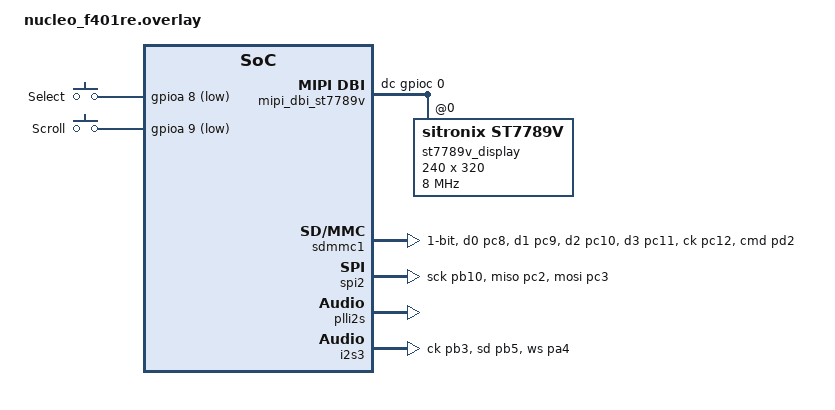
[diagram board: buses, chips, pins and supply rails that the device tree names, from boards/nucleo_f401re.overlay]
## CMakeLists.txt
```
cmake_minimum_required(VERSION 3.20.0)

find_package(Zephyr REQUIRED HINTS $ENV{ZEPHYR_BASE})
set(CMAKE_EXPORT_COMPILE_COMMANDS ON)
project(music_player)
include(${ZEPHYR_BASE}/cmake/cfb.cmake NO_POLICY_SCOPE)
target_include_directories(app PRIVATE ${CMAKE_BINARY_DIR}/include)

target_sources(app PRIVATE src/main.cpp src/sd_card.cpp src/gpio.cpp src/mp_lvgl.cpp)
```

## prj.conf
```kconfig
CONFIG_CPP=y
CONFIG_STD_CPP17=y        # or CPP14, CPP11
CONFIG_SPI=y
CONFIG_DISK_ACCESS=y
CONFIG_FILE_SYSTEM=y
CONFIG_FAT_FILESYSTEM_ELM=y
CONFIG_LOG=y
CONFIG_GPIO=y
CONFIG_MAIN_STACK_SIZE=8192
CONFIG_I2C=y
CONFIG_DISPLAY=y
CONFIG_HEAP_MEM_POOL_SIZE=8192
CONFIG_TEST_RANDOM_GENERATOR=y
CONFIG_FS_FATFS_LFN=y
CONFIG_FS_FATFS_MAX_LFN=64
CONFIG_I2S=y
CONFIG_DMA=y
CONFIG_FPU=y
CONFIG_I2S_STM32_TX_BLOCK_COUNT=4
CONFIG_SPI_STM32_DMA=y 
CONFIG_INPUT=y
CONFIG_ST7789V=y 

CONFIG_LVGL=y
CONFIG_LV_FONT_MONTSERRAT_16=y
CONFIG_LV_Z_MEM_POOL_SIZE=16384
CONFIG_LV_Z_SHELL=n

# CONFIG_GLIBCXX_LIBCPP=y   # links libstdc++
```

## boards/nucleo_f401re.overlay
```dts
#include <zephyr/dt-bindings/gpio/st-morpho-header.h>
#include <zephyr/dt-bindings/input/input-event-codes.h>
#include <zephyr/dt-bindings/mipi_dbi/mipi_dbi.h>
#include <zephyr/dt-bindings/display/panel.h>

&dma1 {
    status = "okay";
};

&dma2 {
    status = "okay";
};

&sdmmc1 {
    status = "okay";
    pinctrl-0 = <&sdio_d0_pc8
                 &sdio_d1_pc9
                 &sdio_d2_pc10
                 &sdio_d3_pc11
                 &sdio_ck_pc12
                 &sdio_cmd_pd2>;
    pinctrl-names = "default";
    /* cd-gpios = <&gpiob 14 GPIO_ACTIVE_LOW>; */
    // Change later when on pcb
    bus-width = <1>;
    disk-name = "SD";
    clk-div = <1>;
};
/* &spi1 { */
/*     dmas = <&dma2 0 3 (STM32_DMA_PERIPH_RX | STM32_DMA_PRIORITY_HIGH) STM32_DMA_FIFO_1_4>, */
/*            <&dma2 3 3 (STM32_DMA_PERIPH_TX | STM32_DMA_PRIORITY_HIGH) STM32_DMA_FIFO_1_4>; */
/*     dma-names = "rx", "tx"; */
/**/
/*     sdhc0: sdhc@0 { */
/*         compatible = "zephyr,sdhc-spi-slot"; */
/*         reg = <0>; */
/*         status = "okay"; */
/*         spi-max-frequency = <25000000>; */
/**/
/*         /* 3 (0/2) RX 3 (3/5) TX */
/*         mmc { */
/*             compatible = "zephyr,sdmmc-disk"; */
/*             disk-name = "SD"; */
/*             status = "okay"; */
/*         }; */
/*     }; */
/* }; */

&spi2 {
    pinctrl-0 = <&spi2_sck_pb10 &spi2_miso_pc2 &spi2_mosi_pc3>;
    pinctrl-names = "default";
    status = "okay";
    cs-gpios = <&gpiob 9 GPIO_ACTIVE_LOW>; 
    dmas = <&dma1 4 0 (STM32_DMA_PERIPH_TX | STM32_DMA_PRIORITY_HIGH) STM32_DMA_FIFO_FULL>,
           <&dma1 3 0 (STM32_DMA_PERIPH_RX | STM32_DMA_PRIORITY_HIGH) STM32_DMA_FIFO_FULL>;
    dma-names = "tx", "rx";
};

/ {
    mipi_dbi_st7789v {
        compatible = "zephyr,mipi-dbi-spi";
        spi-dev = <&spi2>;
        dc-gpios = <&gpioc 0 GPIO_ACTIVE_HIGH>;    
        /* reset-gpios = <&gpioX Y GPIO_ACTIVE_LOW>;   */
        write-only;
        #address-cells = <1>;
        #size-cells = <0>;

        st7789v_display: st7789v@0 {
            compatible = "sitronix,st7789v";
            mipi-max-frequency = <8000000>;
            reg = <0>;
            width = <240>;
            height = <320>;
            x-offset = <0>;
            y-offset = <0>;
            vcom = <0x19>;
            gctrl = <0x35>;
            vrhs = <0x12>;
            vdvs = <0x20>;
            mdac = <0x08>;
            gamma = <0x01>;
            pixel-format = <PANEL_PIXEL_FORMAT_RGB_565>;
            lcm = <0x2c>;
            porch-param = [0c 0c 00 33 33];
            cmd2en-param = [5a 69 02 01];
            pwctrl1-param = [a4 a1];
            pvgam-param = [d0 04 0d 11 13 2b 3f 54 4c 18 0d 0b 1f 23];
            nvgam-param = [d0 04 0c 11 13 2c 3f 44 51 2f 1f 1f 20 23];
            ram-param = [00 f0];
            rgb-param = [cd 08 14];
            mipi-mode = "MIPI_DBI_MODE_SPI_4WIRE";
        };
    };

    chosen {
        zephyr,display = &st7789v_display;
    };
};

&i2c3 {
    status = "disabled";
};

&plli2s {
    div-m = <8>;
    mul-n = <271>;
    div-r = <2>;
    clocks = <&clk_hse>;
    status = "okay";
};

&i2s3 { 
    pinctrl-0 = <&i2s3_ck_pb3 &i2s3_sd_pb5 &i2s3_ws_pa4>;
    clocks = <&rcc STM32_CLOCK(APB1, 15)>,
             <&rcc STM32_SRC_PLLI2S_R I2S_SEL(0)>;
    pinctrl-names = "default";
    status = "okay"; 
};

/ {
    buttons {
        compatible = "gpio-keys";

        select_pin: select_pin {
            gpios = <&gpioa 8 (GPIO_ACTIVE_LOW | GPIO_PULL_UP)>;
            label = "Select";
            zephyr,code = <INPUT_KEY_0>;
        };

        scroll_pin: scroll_pin {
            gpios = <&gpioa 9 (GPIO_ACTIVE_LOW | GPIO_PULL_UP)>;
            label = "Scroll";
            zephyr,code = <INPUT_KEY_1>;
        };
    };

    longpress {
        compatible = "zephyr,input-longpress";
        input-codes = <INPUT_KEY_0>, <INPUT_KEY_1>;
        short-codes = <INPUT_KEY_A>, <INPUT_KEY_B>;
        long-codes = <INPUT_KEY_X>, <INPUT_KEY_Y>;
        long-delay-ms = <3000>;
    };
};
```

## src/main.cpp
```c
#include "gpio.hpp"
#include "mp_lvgl.hpp"
#include "sd_card.hpp"
#include "types.hpp"
#include "zephyr/kernel.h"
#include "zephyr/sys/printk.h"
#include <lvgl.h>
#include <lvgl_zephyr.h>
#include <zephyr/drivers/display.h>
#include <zephyr/input/input.h>
#include <zephyr/logging/log.h>

LOG_MODULE_REGISTER(main);
#define SELECT_NODE DT_NODELABEL(select_pin)
#define SCROLL_NODE DT_NODELABEL(scroll_pin)
#define WORKQ_STACK_SIZE 4096
K_THREAD_STACK_DEFINE(workq_stack, WORKQ_STACK_SIZE);
#define MUSIC_WORKQ_STACK_SIZE 8192
K_THREAD_STACK_DEFINE(music_workq_stack, MUSIC_WORKQ_STACK_SIZE);
#define MAX_DISPLAY_LINES 8

// Directory File
// +4 len of disk mount pt +1 for / + 1 for null
static char selected_dir[MAX_FILE_NAME + 4 + 1];

void select_cb(bool long_press, void *ctx) {
  printk("select\n");
  int64_t press_start = k_uptime_get();
  static int64_t last_press = 0;
  auto gpio_ctx = static_cast<gpio_ctx_t *>(ctx);
  auto diff = (last_press - press_start);
  printk("%lldd\n", diff);
  switch (gpio_ctx->state) {
  case STATE_DIR:
    gpio_ctx->file_cursor = 0;
    gpio_ctx->window_start = 0;
    gpio_ctx->state = STATE_DIR_READ;
    break;
  case STATE_FILE:
    gpio_ctx->state = STATE_TO_PLAY;
    break;
  case STATE_TO_PLAY:
    break;
  default:
    break;
  }
  last_press = press_start;
}
void scroll_cb(bool long_press, void *ctx) {
  printk("scroll\n");
  auto gpio_ctx = static_cast<gpio_ctx_t *>(ctx);
  switch (gpio_ctx->state) {
  case STATE_DIR: {
    gpio_ctx->dir_cursor += 1;
    auto dir_count = *gpio_ctx->dir_count;
    auto dist = (int)(gpio_ctx->dir_cursor - gpio_ctx->window_start);
    gpio_ctx->dir_cursor %= dir_count;
    if (dist >= MAX_DISPLAY_LINES) {
      gpio_ctx->window_start += gpio_ctx->dir_cursor - (MAX_DISPLAY_LINES - 1);
    }
    if (dist < 0) {
      gpio_ctx->window_start = 0;
    }
    break;
  }
  case STATE_FILE: {
    gpio_ctx->file_cursor += 1;
    auto file_count = *gpio_ctx->file_count;
    auto dist = (int)(gpio_ctx->file_cursor - gpio_ctx->window_start);
    gpio_ctx->file_cursor %= file_count;
    if (dist >= MAX_DISPLAY_LINES) {
      gpio_ctx->window_start += gpio_ctx->file_cursor - (MAX_DISPLAY_LINES - 1);
    }
    if (dist < 0) {
      gpio_ctx->window_start = 0;
    }
    break;
  }
  case STATE_TO_PLAY:
    break;
  default:
    break;
  }
}
static const struct device *const longpress_dev =
    DEVICE_DT_GET(DT_PATH(longpress));
static void longpress_cb(struct input_event *evt, void *user_data) {
  if (evt->sync == 0) {
    return;
  }
  bool long_press = false;
  if (0 != evt->value) {
    switch (evt->code) {
    case INPUT_KEY_A:
    case INPUT_KEY_B:
      long_press = false;
      break;
    case INPUT_KEY_X:
    case INPUT_KEY_Y:
      long_press = true;
      break;
    default:
      return;
    }
    switch (evt->code) {
    case INPUT_KEY_A:
    case INPUT_KEY_X:
      select_cb(long_press, user_data);
      break;
    case INPUT_KEY_B:
    case INPUT_KEY_Y:
      scroll_cb(long_press, user_data);
      break;
    default:
      return;
    }
  }
}
int main(void) {
  struct k_work_q workq;
  k_work_queue_init(&workq);
  k_work_queue_start(&workq, workq_stack, K_THREAD_STACK_SIZEOF(workq_stack),
                     K_PRIO_PREEMPT(10),
                     NULL); // priority 10, lower than main
  struct k_work_q music_workq;
  k_work_queue_init(&music_workq);
  k_work_queue_start(&music_workq, music_workq_stack,
                     K_THREAD_STACK_SIZEOF(music_workq_stack),
                     K_PRIO_PREEMPT(7), // high priority, cooperative
                     NULL);
  const struct device *display = DEVICE_DT_GET(DT_CHOSEN(zephyr_display));
  printk("init\n");
  SDCard sd{&workq, &music_workq};
  static struct gpio_ctx_t ctx{};
  INPUT_CALLBACK_DEFINE(longpress_dev, longpress_cb, &ctx);
  ctx = {0, 0, 0, &sd.dir_count, &sd.file_count, STATE_DIR, &sd};
  if (!device_is_ready(display)) {
    printk("Display not ready\n");
    return 0;
  }
  display_blanking_off(display);

  // --- LVGL UI setup ---
  static lv_obj_t *list_labels[MAX_DISPLAY_LINES];
  static lv_obj_t *now_playing_label;
  static lv_obj_t *total_duration_label;
  static char duration_str[9];
  static lv_obj_t *total_elapsed_label;
  static char elapsed_str[9];
  static lv_obj_t *progress_container;
  static lv_obj_t *progress_bar;
  static lv_style_t style_normal;
  static lv_style_t style_highlight;

  {
    lv_lock_guard guard;

    // Styles
    lv_style_init(&style_normal);
    lv_style_set_text_color(&style_normal, lv_color_white());
    lv_style_set_bg_opa(&style_normal, LV_OPA_TRANSP);
    lv_style_set_pad_ver(&style_normal, 4);
    lv_style_set_pad_hor(&style_normal, 4);

    lv_style_init(&style_highlight);
    lv_style_set_text_color(&style_highlight, lv_color_black());
    lv_style_set_bg_color(&style_highlight, lv_color_white());
    lv_style_set_bg_opa(&style_highlight, LV_OPA_COVER);
    lv_style_set_pad_ver(&style_highlight, 4);
    lv_style_set_pad_hor(&style_highlight, 4);

    // Black background
    lv_obj_set_style_bg_color(lv_screen_active(), lv_color_black(), 0);
    lv_obj_set_style_bg_opa(lv_screen_active(), LV_OPA_COVER, 0);

    // Create n list labels
    for (int i = 0; i < MAX_DISPLAY_LINES; i++) {
      list_labels[i] = lv_label_create(lv_screen_active());
      lv_label_set_text(list_labels[i], "");
      lv_obj_set_width(list_labels[i], 240);
      lv_obj_set_pos(list_labels[i], 0, i * 40);
      lv_obj_add_style(list_labels[i], &style_normal, 0);
      lv_label_set_long_mode(list_labels[i], LV_LABEL_LONG_CLIP);
    }

    // Now playing label (hidden initially)
    now_playing_label = lv_label_create(lv_screen_active());
    lv_label_set_text(now_playing_label, "Now Playing");
    lv_obj_align(now_playing_label, LV_ALIGN_TOP_MID, 0, 4);
    lv_obj_add_style(now_playing_label, &style_normal, 0);
    lv_obj_add_flag(now_playing_label, LV_OBJ_FLAG_HIDDEN);

    // Progress container: elapsed | bar | total, aligned to bottom
    progress_container = lv_obj_create(lv_screen_active());
    lv_obj_set_size(progress_container, LV_PCT(100), LV_SIZE_CONTENT);
    lv_obj_align(progress_container, LV_ALIGN_BOTTOM_MID, 0, 0);
    lv_obj_set_flex_flow(progress_container, LV_FLEX_FLOW_ROW);
    lv_obj_set_flex_align(progress_container, LV_FLEX_ALIGN_SPACE_BETWEEN,
                          LV_FLEX_ALIGN_CENTER, LV_FLEX_ALIGN_CENTER);
    lv_obj_set_style_bg_opa(progress_container, LV_OPA_TRANSP, 0);
    lv_obj_set_style_border_width(progress_container, 0, 0);
    lv_obj_set_style_pad_all(progress_container, 2, 0);
    lv_obj_add_flag(progress_container, LV_OBJ_FLAG_HIDDEN);

    // Measure max time label width dynamically from font metrics
    lv_point_t time_size;
    lv_text_get_size(&time_size, "00:00:00", lv_font_get_default(), 0, 0,
                     LV_COORD_MAX, LV_TEXT_FLAG_NONE);
    int32_t time_label_width = time_size.x + 8; // +8 for pad_hor (4px each side)

    // Elapsed time label (inside container)
    total_elapsed_label = lv_label_create(progress_container);
    lv_label_set_text_static(total_elapsed_label, elapsed_str);
    lv_obj_add_style(total_elapsed_label, &style_normal, 0);
    lv_obj_set_width(total_elapsed_label, time_label_width);

    // Progress bar (inside container, fills remaining space)
    progress_bar = lv_bar_create(progress_container);
    lv_obj_set_flex_grow(progress_bar, 1);
    lv_obj_set_height(progress_bar, 8);
    lv_bar_set_range(progress_bar, 0, 100);
    lv_bar_set_value(progress_bar, 0, LV_ANIM_OFF);
    lv_obj_set_style_bg_color(progress_bar, lv_color_make(40, 40, 40), 0);
    lv_obj_set_style_bg_color(progress_bar, lv_color_white(),
                              LV_PART_INDICATOR);

    // Total duration label (inside container)
    total_duration_label = lv_label_create(progress_container);
    lv_label_set_text_static(total_duration_label, duration_str);
    lv_obj_add_style(total_duration_label, &style_normal, 0);
    lv_obj_set_width(total_duration_label, time_label_width);

    lv_timer_handler();
  }

  // --- Main loop ---
  DISPLAY_STATE last_state = STATE_DIR;
  uint8_t last_dir_cursor = 0xFF;
  uint8_t last_file_cursor = 0xFF;
  uint8_t last_window_start = 0xFF;

  while (1) {
    {
      lv_lock_guard guard;

      switch (ctx.state) {
      case STATE_DIR:
        if (ctx.state != last_state || ctx.dir_cursor != last_dir_cursor ||
            ctx.window_start != last_window_start) {
          // Show list labels, hide now playing
          for (int i = 0; i < MAX_DISPLAY_LINES; i++) {
            lv_obj_clear_flag(list_labels[i], LV_OBJ_FLAG_HIDDEN);
          }
          lv_obj_add_flag(now_playing_label, LV_OBJ_FLAG_HIDDEN);
          lv_obj_add_flag(progress_container, LV_OBJ_FLAG_HIDDEN);

          for (int z = 0; z < MAX_DISPLAY_LINES; z++) {
            if (z < sd.dir_count) {
              auto index = (ctx.window_start + z) % sd.dir_count;
              lv_label_set_text(list_labels[z], sd.dir_list[index].name);
              if (index == ctx.dir_cursor) {
                lv_obj_remove_style(list_labels[z], &style_normal, 0);
                lv_obj_add_style(list_labels[z], &style_highlight, 0);
              } else {
                lv_obj_remove_style(list_labels[z], &style_highlight, 0);
                lv_obj_add_style(list_labels[z], &style_normal, 0);
              }
            } else {
              lv_label_set_text(list_labels[z], "");
              lv_obj_remove_style(list_labels[z], &style_highlight, 0);
              lv_obj_add_style(list_labels[z], &style_normal, 0);
            }
          }
          last_dir_cursor = ctx.dir_cursor;
          last_window_start = ctx.window_start;
        }
        break;

      case STATE_DIR_READ:
        sd.lsdir(ctx.dir_cursor);
        ctx.state = STATE_FILE;
        last_file_cursor = 0xFF; // force redraw
        break;

      case STATE_FILE:
        if (ctx.state != last_state || ctx.file_cursor != last_file_cursor ||
            ctx.window_start != last_window_start) {
          for (int i = 0; i < MAX_DISPLAY_LINES; i++) {
            lv_obj_clear_flag(list_labels[i], LV_OBJ_FLAG_HIDDEN);
          }
          lv_obj_add_flag(now_playing_label, LV_OBJ_FLAG_HIDDEN);
          lv_obj_add_flag(progress_container, LV_OBJ_FLAG_HIDDEN);

          for (int z = 0; z < MAX_DISPLAY_LINES; z++) {
            if (z < sd.file_count) {
              auto index = (ctx.window_start + z) % sd.file_count;
              lv_label_set_text(list_labels[z], sd.file_list[index].name);
              if (index == ctx.file_cursor) {
                lv_obj_remove_style(list_labels[z], &style_normal, 0);
                lv_obj_add_style(list_labels[z], &style_highlight, 0);
              } else {
                lv_obj_remove_style(list_labels[z], &style_highlight, 0);
                lv_obj_add_style(list_labels[z], &style_normal, 0);
              }
            } else {
              lv_label_set_text(list_labels[z], "");
              lv_obj_remove_style(list_labels[z], &style_highlight, 0);
              lv_obj_add_style(list_labels[z], &style_normal, 0);
            }
          }
          last_file_cursor = ctx.file_cursor;
          last_window_start = ctx.window_start;
        }
        break;

      case STATE_TO_PLAY:
        sd.read_file(ctx.dir_cursor, ctx.file_cursor);
        ctx.state = STATE_PLAYING;
      case STATE_PLAYING:
        if (ctx.state != last_state) {
          // Hide list, show now playing
          for (int i = 0; i < MAX_DISPLAY_LINES; i++) {
            lv_obj_add_flag(list_labels[i], LV_OBJ_FLAG_HIDDEN);
          }
          k_sem_take(&sd.header_ready, K_FOREVER);
          sd.time_str(duration_str, atomic_get(&sd.total_time));
          lv_label_set_text_static(total_duration_label, duration_str);
          lv_obj_clear_flag(now_playing_label, LV_OBJ_FLAG_HIDDEN);
          lv_obj_clear_flag(progress_container, LV_OBJ_FLAG_HIDDEN);
          lv_label_set_text(now_playing_label,
                            sd.file_list[ctx.file_cursor].name);
        }
        {
          uint32_t elapsed = atomic_get(&sd.elapsed_time);
          uint32_t total = atomic_get(&sd.total_time);
          sd.time_str(elapsed_str, elapsed);
          lv_label_set_text_static(total_elapsed_label, elapsed_str);
          if (total > 0) {
            int pct = (int)((elapsed * 100) / total);
            if (pct > 100)
              pct = 100;
            lv_bar_set_value(progress_bar, pct, LV_ANIM_OFF);
          }
        }
        break;
      }

      last_state = ctx.state;
      lv_timer_handler();
    }
    k_msleep(100);
  }
  return 0;
}
```

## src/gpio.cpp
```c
#include "gpio.hpp"
#include "zephyr/drivers/gpio.h"
#include "zephyr/kernel.h"
#include "zephyr/logging/log.h"
#include "zephyr/sys/clock.h"
LOG_MODULE_REGISTER(gpio);
void GPIO::callback(k_work *work) {
  struct k_work_delayable *dwork = k_work_delayable_from_work(work);
  GPIO *io = CONTAINER_OF(dwork, GPIO, work);
  auto active = gpio_pin_get_dt(&io->gpio);
  if (active < 0) {
    LOG_ERR("ERR GPIO\n");
    return;
  }
  io->active = active;
  if (io->cb) {
    io->cb(io->ctx, io->active);
  }
}
void GPIO::isr(const struct device *dev, struct gpio_callback *cb,
               uint32_t pins) {
  GPIO *io = CONTAINER_OF(cb, GPIO, cb_data);
  if (io->work_q) {
    k_work_reschedule_for_queue(io->work_q, &io->work, io->timeout);
  } else {
    k_work_reschedule(&io->work, io->timeout);
  }
}
GPIO::GPIO(const struct gpio_dt_spec &gpio, k_work_q *work_q,
           k_timeout_t timeout, gpio_event_cb_t cb, void *ctx)
    : gpio(gpio), work_q(work_q), timeout(timeout), cb(cb), ctx(ctx) {
   gpio_pin_configure_dt(&gpio, GPIO_INPUT);
  gpio_pin_interrupt_configure_dt(&gpio, (GPIO_INT_EDGE_BOTH));
  gpio_init_callback(&cb_data, &GPIO::isr, BIT(gpio.pin));
  gpio_add_callback(gpio.port, &cb_data);
  k_work_init_delayable(&this->work, &GPIO::callback);
}
```

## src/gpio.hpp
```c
#pragma once
#include "zephyr/drivers/gpio.h"
#include "zephyr/kernel.h"
#include "zephyr/sys/clock.h"
using gpio_event_cb_t = void (*)(void *context, bool active);
class GPIO {
private:
  struct gpio_callback cb_data;
  const struct gpio_dt_spec &gpio;
  struct k_work_q *work_q = nullptr;
  k_timeout_t timeout = K_MSEC(25);
  bool active = false;
  static void callback(k_work *work);
  static void isr(const struct device *dev, struct gpio_callback *cb,
                  uint32_t pins);
  gpio_event_cb_t cb = nullptr;
  void *ctx = nullptr;

public:
  struct k_work_delayable work;
  GPIO(const struct gpio_dt_spec &gpio, k_work_q *work_q, k_timeout_t timeout,
       gpio_event_cb_t cb, void *ctx);
};
```

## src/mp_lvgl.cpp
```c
#include "mp_lvgl.hpp"
#include "lvgl_zephyr.h"

lv_lock_guard::lv_lock_guard() {
  lvgl_lock();
}
lv_lock_guard::~lv_lock_guard() {
  lvgl_unlock();
}
```

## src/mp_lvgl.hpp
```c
#pragma once
class lv_lock_guard {
public:
  lv_lock_guard();
  ~lv_lock_guard();
};
```

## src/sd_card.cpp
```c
#include "sd_card.hpp"
#include "zephyr/drivers/i2s.h"
#include "zephyr/dt-bindings/gpio/gpio.h"
#include "zephyr/dt-bindings/gpio/st-morpho-header.h"
#include "zephyr/fs/fs.h"
#include "zephyr/kernel.h"
#include "zephyr/sys/atomic.h"
#include "zephyr/sys/printk.h"
#include "zephyr/sys/util.h"
#define BLOCK_SIZE 4096
#define NUM_BLOCKS 4
// #define CD_NODE DT_NODELABEL(cd_pin)
// constexpr static const struct gpio_dt_spec cd_gpio =
//     GPIO_DT_SPEC_GET(CD_NODE, gpios);
constexpr static const struct gpio_dt_spec cd_gpio = {
    .port = DEVICE_DT_GET(DT_NODELABEL(gpiob)),
    .pin = 14,
    .dt_flags = GPIO_ACTIVE_HIGH};
K_MEM_SLAB_DEFINE(tx_0_mem_slab, WB_UP(BLOCK_SIZE), NUM_BLOCKS, WB_UP(32));
LOG_MODULE_REGISTER(sd_card);
// Called when card inserted/removed
void SDCard::card_detect_cb(void *ctx, bool active) {
  static int last_state = -1;
  SDCard *self = static_cast<SDCard *>(ctx);
  if (active == last_state)
    return;
  last_state = active;
  if (active) {
    self->mount();
  } else {
    self->unmount();
  }
}
void SDCard::music_cb(struct k_work *work) {
  printk("MUSIC_CB\n");

  // Uncomment the next line to play a test tone instead of WAV file.
  // This tests the I2S hardware path without involving the SD card.
  // play_test_tone(); return;

  auto self = CONTAINER_OF(work, SDCard, music_work);
  atomic_set(&total_time, 0);
  atomic_set(&elapsed_time, 0);
  auto &file = self->file;
  char bytes[64];
  void *tx_block[NUM_BLOCKS];
  struct i2s_config i2s_cfg;
  int ret;
  uint32_t tx_idx;
  const struct device *dev_i2s = DEVICE_DT_GET(DT_NODELABEL(i2s3));

  if (!device_is_ready(dev_i2s)) {
    printk("I2S device not ready\n");
    return;
  }

  // --- Parse WAV header ---
  memset(bytes, 0, sizeof(bytes));

  // RIFF header
  fs_read(&file, bytes, 4);
  if (strncmp(bytes, "RIFF", 4) != 0) {
    printk("Not a RIFF file\n");
    return;
  }
  fs_read(&file, bytes, 4); // file size - 8
  fs_read(&file, bytes, 4); // WAVE
  if (strncmp(bytes, "WAVE", 4) != 0) {
    printk("Not a WAVE file\n");
    return;
  }

  // fmt subchunk
  fs_read(&file, bytes, 4); // "fmt "
  if (strncmp(bytes, "fmt ", 4) != 0) {
    printk("Missing fmt chunk\n");
    return;
  }

  // fmt chunk size
  fs_read(&file, bytes, 4);
  uint32_t chunk_size = (uint8_t)bytes[0] | ((uint8_t)bytes[1] << 8) |
                        ((uint8_t)bytes[2] << 16) | ((uint8_t)bytes[3] << 24);
  printk("test\n");
  printk("fmt chunk_size: %u\n", chunk_size);

  // audio format (1 = PCM)
  fs_read(&file, bytes, 2);
  uint16_t audio_format = (uint8_t)bytes[0] | ((uint8_t)bytes[1] << 8);
  printk("audio_format: %u\n", audio_format);
  if (audio_format != 1) {
    printk("Unsupported audio format (not PCM): %u\n", audio_format);
    return;
  }

  // number of channels
  fs_read(&file, bytes, 2);
  uint16_t num_channels = (uint8_t)bytes[0] | ((uint8_t)bytes[1] << 8);
  printk("channels: %u\n", num_channels);

  // sample rate
  fs_read(&file, bytes, 4);
  uint32_t sample_rate = (uint8_t)bytes[0] | ((uint8_t)bytes[1] << 8) |
                         ((uint8_t)bytes[2] << 16) | ((uint8_t)bytes[3] << 24);
  printk("sample_rate: %u\n", sample_rate);

  // byte rate (skip)
  fs_read(&file, bytes, 4);

  // block align (skip)
  fs_read(&file, bytes, 2);

  // bits per sample
  fs_read(&file, bytes, 2);
  uint16_t bits_per_sample = (uint8_t)bytes[0] | ((uint8_t)bytes[1] << 8);
  printk("bits_per_sample: %u\n", bits_per_sample);

  // Skip any extra bytes in fmt chunk (for chunk_size > 16)
  if (chunk_size > 16) {
    uint32_t extra = chunk_size - 16;
    while (extra > 0) {
      uint32_t skip = extra > sizeof(bytes) ? sizeof(bytes) : extra;
      fs_read(&file, bytes, skip);
      extra -= skip;
    }
  }

  // Find "data" chunk (skip any non-data chunks like "fact", "LIST", etc.)
  memset(bytes, 0, sizeof(bytes));
  fs_read(&file, bytes, 4);
  while (strncmp(bytes, "data", 4) != 0) {
    // Read chunk size and skip it
    fs_read(&file, bytes, 4);
    uint32_t skip_size = (uint8_t)bytes[0] | ((uint8_t)bytes[1] << 8) |
                         ((uint8_t)bytes[2] << 16) | ((uint8_t)bytes[3] << 24);
    while (skip_size > 0) {
      uint32_t skip = skip_size > sizeof(bytes) ? sizeof(bytes) : skip_size;
      fs_read(&file, bytes, skip);
      skip_size -= skip;
    }
    // Read next chunk ID
    fs_read(&file, bytes, 4);
  }

  // data chunk size
  fs_read(&file, bytes, 4);
  uint32_t to_read = (uint8_t)bytes[0] | ((uint8_t)bytes[1] << 8) |
                     ((uint8_t)bytes[2] << 16) | ((uint8_t)bytes[3] << 24);
  printk("data size: %u\n", to_read);
  auto duration =
      to_read / (sample_rate * num_channels * (bits_per_sample / 8));
  atomic_set(&total_time, duration);
  k_sem_give(&self->header_ready);
  {
    uint32_t bench_start = k_uptime_get_32();
    uint32_t bench_bytes = 0;
    void *bench_buf;
    k_mem_slab_alloc(&tx_0_mem_slab, &bench_buf, K_FOREVER);
    for (int i = 0; i < 64; i++) { // 64 x 4096 = 256 KB
      int r = fs_read(&file, bench_buf, BLOCK_SIZE);
      if (r <= 0)
        break;
      bench_bytes += r;
    }
    uint32_t bench_elapsed = k_uptime_get_32() - bench_start;
    printk("Benchmark: %u bytes in %u ms = %u KB/s\n", bench_bytes,
           bench_elapsed, bench_bytes / bench_elapsed);
    k_mem_slab_free(&tx_0_mem_slab, bench_buf);
    to_read -= bench_bytes; // skip the bytes we already read (don't seek back)
  }
  // --- End benchmark ---

  // --- Configure I2S from WAV header ---
  i2s_cfg.word_size = bits_per_sample;
  i2s_cfg.channels = num_channels;
  i2s_cfg.format = I2S_FMT_DATA_FORMAT_I2S;
  i2s_cfg.frame_clk_freq = sample_rate;
  i2s_cfg.block_size = BLOCK_SIZE;
  i2s_cfg.timeout = 2000;
  i2s_cfg.options = I2S_OPT_FRAME_CLK_CONTROLLER | I2S_OPT_BIT_CLK_CONTROLLER;
  i2s_cfg.mem_slab = &tx_0_mem_slab;

  ret = i2s_configure(dev_i2s, I2S_DIR_TX, &i2s_cfg);
  if (ret < 0) {
    printk("Failed to configure I2S: %d\n", ret);
    return;
  }
  printk("I2S configured: %u-bit, %u ch, %u Hz\n", bits_per_sample,
         num_channels, sample_rate);

  /* Prepare all TX blocks */
  for (tx_idx = 0; tx_idx < NUM_BLOCKS; tx_idx++) {
    ret = k_mem_slab_alloc(&tx_0_mem_slab, &tx_block[tx_idx], K_FOREVER);
    if (ret < 0) {
      printk("Failed to allocate TX block\n");
      return;
    }
  }
  static int read = 0;
  printk("to_read: %u\n", to_read);
  // Fill and queue all pre-allocated blocks before starting
  for (tx_idx = 0; tx_idx < NUM_BLOCKS - 1 && to_read > 0; tx_idx++) {
    read = fs_read(&file, tx_block[tx_idx], BLOCK_SIZE);
    to_read -= read;
    ret = i2s_write(dev_i2s, tx_block[tx_idx], BLOCK_SIZE);
    if (ret < 0) {
      printk("Failed to write prealloc\n");
      return;
    }
  }
  // Pre-read into the 12th block (read-ahead)
  void *ready_block = tx_block[NUM_BLOCKS - 1];
  read = fs_read(&file, ready_block, BLOCK_SIZE);
  to_read -= read;

  // Start I2S (11 blocks in queue, 1 ready to submit)
  ret = i2s_trigger(dev_i2s, I2S_DIR_TX, I2S_TRIGGER_START);
  if (ret < 0) {
    printk("Failed to start trigger\n");
    return;
  }
  // i2s_write
  printk("to_read before loop %d\n", to_read);
  uint32_t start = k_cycle_get_32();
  uint32_t elapsed_us = k_cycle_get_32();
  while (to_read > 0) {
    ret = i2s_write(dev_i2s, ready_block,
                    read); // instantly queue the pre-read block
    duration = to_read / (sample_rate * num_channels * (bits_per_sample / 8));
    atomic_set(&self->elapsed_time, atomic_get(&self->total_time) - duration);
    if (ret < 0) {
      printk("UNDERRUN - recovering\n");
      i2s_trigger(dev_i2s, I2S_DIR_TX, I2S_TRIGGER_PREPARE);
      // Re-fill queue with current ready_block + read a few more
      i2s_write(dev_i2s, ready_block, read);
      // Alloc and read next blocks to pre-fill...
      i2s_trigger(dev_i2s, I2S_DIR_TX, I2S_TRIGGER_START);
    }
    start = k_cycle_get_32();
    k_mem_slab_alloc(&tx_0_mem_slab, &ready_block, K_FOREVER);
    elapsed_us = k_cyc_to_us_floor32(k_cycle_get_32() - start);
    if (elapsed_us > 50000) {
      printk("SLOW ALLOC: %u us\n", elapsed_us);
    }
    start = k_cycle_get_32();
    read = fs_read(&file, ready_block, BLOCK_SIZE);
    elapsed_us = k_cyc_to_us_floor32(k_cycle_get_32() - start);
    if (elapsed_us > 50000) { // only print if > 50ms
      printk("SLOW READ: %u us\n", elapsed_us);
    }
    if (read <= 0)
      break;
    to_read -= read;
  };
  ret = i2s_trigger(dev_i2s, I2S_DIR_TX, I2S_TRIGGER_DRAIN);
  if (ret < 0) {
    printk("Failed to trigger drain\n");
    return;
  }
  printk("DONE\n");
}
// ISR - minimal, just reschedule the debounce timer
SDCard::SDCard(struct k_work_q *workq, struct k_work_q *music_workq)
    : card_detect(cd_gpio, workq, K_MSEC(50), card_detect_cb, this),
      workq(workq), music_workq(music_workq) {
  k_work_init(&this->music_work, &SDCard::music_cb);
  k_sem_init(&header_ready, 0, 1);
  this->mount();
}
int SDCard::mount() {
  // do {
  //   uint64_t memory_size_mb;
  //   uint32_t block_count;
  //   uint32_t block_size;
  // if (disk_access_ioctl(disk_pdrv, DISK_IOCTL_CTRL_INIT, NULL) != 0) {
  //   LOG_ERR("Storage init ERROR!");
  // }
  //
  //   if (disk_access_ioctl(disk_pdrv, DISK_IOCTL_GET_SECTOR_COUNT,
  //                         &block_count)) {
  //     LOG_ERR("Unable to get sector count");
  //     break;
  //   }
  //   LOG_INF("Block count %u", block_count);
  //
  //   if (disk_access_ioctl(disk_pdrv, DISK_IOCTL_GET_SECTOR_SIZE,
  //   &block_size)) {
  //     LOG_ERR("Unable to get sector size");
  //     break;
  //   }
  //   printk("Sector size %u\n", block_size);
  //
  //   memory_size_mb = (uint64_t)block_count * block_size;
  //   printk("Memory Size(MB) %u\n", (uint32_t)(memory_size_mb >> 20));
  //
  //   if (disk_access_ioctl(disk_pdrv, DISK_IOCTL_CTRL_DEINIT, NULL) != 0) {
  //     LOG_ERR("Storage deinit ERROR!");
  //     break;
  //   }
  // } while (0);
  if (this->mounted)
    return FS_RET_OK;
  mp.mnt_point = disk_mount_pt;
  auto res = fs_mount(&mp);
  if (res == FS_RET_OK) {
    this->mounted = true;
    get_dirs(this->disk_mount_pt);
  }
  return res;
}
int SDCard::unmount() {
  if (!this->mounted)
    return FS_RET_OK;
  auto res = fs_unmount(&mp);
  if (res == FS_RET_OK) {
    this->mounted = false;
    dir_count = 0;
    file_count = 0;
  }
  return res;
  // LOG_ERR("Unmount FSRESULT: %d", res);
}
int SDCard::lsdir(int idx) {
  if (idx < 0 || idx > dir_count) {
    return -1;
  }
  static char path[128];
  snprintf(path, 128, "%s/%s", DISK_MOUNT_PT, this->dir_list[idx].name);
  return this->lsdir(path);
}
int SDCard::read_file(int dir_idx, int file_idx) {
  if (dir_idx < 0 || dir_idx > dir_count) {
    return -1;
  }
  if (file_idx < 0 || file_idx > file_count) {
    return -1;
  }
  static char path[256];
  snprintf(path, 256, "%s/%s/%s", DISK_MOUNT_PT, this->dir_list[dir_idx].name,
           this->file_list[file_idx].name);
  fs_file_t_init(&this->file);
  printk("PATH %s\n", path);
  auto res = fs_open(&this->file, path, FS_O_READ);
  if (res != 0) {
    LOG_ERR("ERR OPENING FILE\n");
    return -1;
  }
  k_work_submit_to_queue(this->music_workq, &this->music_work);
  return 0;
}
int SDCard::lsdir(const char *path) {
  int res;
  struct fs_dir_t dirp;
  static struct fs_dirent entry;
  file_count = 0;

  fs_dir_t_init(&dirp);

  /* Verify fs_opendir() */
  res = fs_opendir(&dirp, path);
  if (res) {
    printk("Error opening dir %s [%d]\n", path, res);
    return res;
  }
  for (;;) {
    /* Verify fs_readdir() */
    res = fs_readdir(&dirp, &entry);

    /* entry.name[0] == 0 means end-of-dir */
    if (res || entry.name[0] == 0) {
      break;
    }

    if (entry.type == FS_DIR_ENTRY_FILE) {
      auto len = strlen(entry.name);
      if (strncmp(entry.name + (len - 4), ".wav", 4) != 0) {
        continue;
      }
      // if (entry.name
      file_entries file = {.name = "", .size = entry.size};
      memcpy(file.name, entry.name, MAX_FILE_NAME);
      file_list[file_count++] = file;
    }
  }
  return 0;
}
int SDCard::get_dirs(const char *path) {
  int res;
  struct fs_dir_t dirp;
  static struct fs_dirent entry;
  int count = 0;

  fs_dir_t_init(&dirp);

  /* Verify fs_opendir() */
  res = fs_opendir(&dirp, path);
  if (res) {
    LOG_ERR("Error opening dir %s [%d]\n", path, res);
    return res;
  }
  for (;;) {
    /* Verify fs_readdir() */
    res = fs_readdir(&dirp, &entry);

    /* entry.name[0] == 0 means end-of-dir */
    if (res || entry.name[0] == 0) {
      break;
    }

    if (entry.type == FS_DIR_ENTRY_DIR) {
      struct directory_entries dir;
      memcpy(dir.name, entry.name, MAX_FILE_NAME);
      printk("\t%s\n", entry.name);
      SDCard::dir_list[dir_count++] = dir;
    }
    count++;
  }

  /* Verify fs_closedir() */
  fs_closedir(&dirp);
  if (res == 0) {
    res = count;
  }

  return res;
}
void SDCard::time_str(char buf[9], uint32_t time) {
  memset(buf, 0, 9);
  auto hours = time / 3600;
  auto minutes = (time % 3600) / 60;
  auto seconds = time % 60;
  sprintf(buf, "%02d:%02d:%02d", hours, minutes, seconds);
}
```

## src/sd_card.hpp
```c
#pragma once
#include "gpio.hpp"
#include "zephyr/fs/fs_interface.h"
#include <ff.h>
#include <zephyr/drivers/gpio.h>
#include <zephyr/fs/fs.h>
#include <zephyr/logging/log.h>
#include <zephyr/storage/disk_access.h>
#include <zephyr/sys/atomic.h>

#define DISK_DRIVE_NAME "SD"
#define MAX_PATH 128
#define FS_RET_OK FR_OK
#define DISK_MOUNT_PT "/" DISK_DRIVE_NAME ":"
#define MAX_DIRS 16
#define MAX_FILES 64

class SDCard {
private:
  struct directory_entries {
    char name[MAX_FILE_NAME];
  };
  struct file_entries {
    char name[MAX_FILE_NAME];
    uint32_t size;
  };
  GPIO card_detect;
  // Debounce work item
  static constexpr char *disk_pdrv = DISK_DRIVE_NAME;
  static constexpr char *disk_mount_pt = DISK_MOUNT_PT;
  // End Directory File
  inline static FATFS fat_fs;
  /* mounting info */
  struct fs_mount_t mp = {
      .type = FS_FATFS,
      .fs_data = &fat_fs,
  };
  struct k_work_q *workq;
  struct k_work_q *music_workq;
  struct k_work music_work;
  inline static struct fs_file_t file;
  int get_dirs(const char *path);
  int mount();
  int unmount();
  static void music_cb(struct k_work *work);
  static void card_detect_cb(void *ctx, bool active);

public:
  inline static bool mounted = false;
  SDCard(struct k_work_q *workq, struct k_work_q *music_workq);
  int lsdir(int idx);
  int lsdir(const char *path);
  int read_file(int dir_idx, int file_idx);

  inline static directory_entries dir_list[MAX_DIRS];
  inline static uint8_t dir_count = 0;
  inline static file_entries file_list[MAX_FILES];
  inline static uint8_t file_count = 0;
  // --- TIME IN S ---
  inline static struct k_sem header_ready;
  inline static atomic_t total_time = ATOMIC_INIT(0);
  inline static atomic_t elapsed_time = ATOMIC_INIT(0);
  static void time_str(char buf[9], uint32_t time);
  // -----------------
};
```

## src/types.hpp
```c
#pragma once
#include "sd_card.hpp"
#include <cstdint>
enum DISPLAY_STATE {
  STATE_DIR,
  STATE_FILE,
  STATE_DIR_READ,
  STATE_TO_PLAY,
  STATE_PLAYING
};
typedef struct gpio_ctx_t {
  uint8_t dir_cursor;
  uint8_t file_cursor;
  uint8_t window_start;
  uint8_t *dir_count;
  uint8_t *file_count;
  DISPLAY_STATE state;
  SDCard *sd;

  
} gpio_ctx_t;
```
